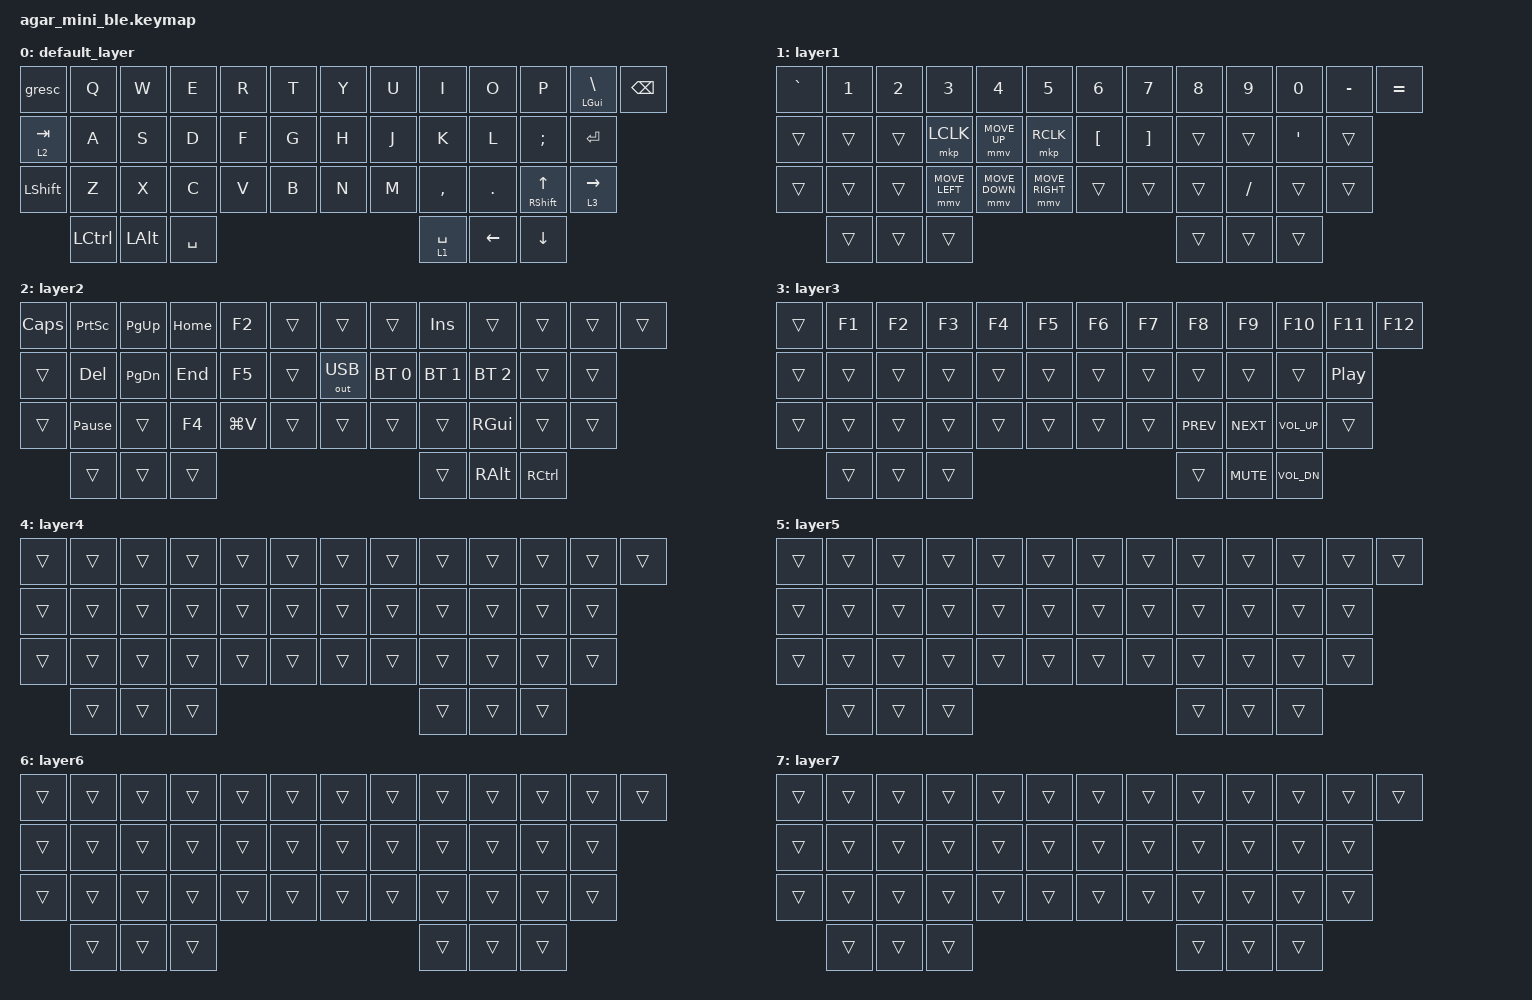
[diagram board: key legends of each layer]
/*
 * Copyright (c) 2021 The ZMK Contributors
 *
 * SPDX-License-Identifier: MIT
 */

#include "./boards/shields/klink_kbd/common.keymap"
#include <behaviors.dtsi>
#include <dt-bindings/zmk/keys.h>
#include <dt-bindings/zmk/pointing.h>
#include <dt-bindings/zmk/outputs.h>

/ {
    keymap {
        compatible = "zmk,keymap";

        default_layer {
            bindings = <
&gresc     &kp Q      &kp W     &kp E  &kp R        &kp T  &kp Y      &kp U  &kp I      &kp O           &kp P                &mt LGUI BACKSLASH  &kp BSPC
&lt 2 TAB  &kp A      &kp S     &kp D  &kp F        &kp G  &kp H      &kp J  &kp K      &kp L           &kp SEMI             &kp RET
&kp LSHFT  &kp Z      &kp X     &kp C  &kp V        &kp B  &kp N      &kp M  &kp COMMA  &kp DOT         &mt RSHIFT UP_ARROW  &lt 3 RIGHT_ARROW
           &kp LCTRL  &kp LALT         &kp SPACE         &lt 1 SPACE                    &kp LEFT_ARROW  &kp DOWN_ARROW
            >;
        };

        layer1 {
            bindings = <
&kp GRAVE  &kp N1  &kp N2  &kp N3          &kp N4          &kp N5           &kp N6            &kp N7             &kp N8  &kp N9     &kp N0            &kp MINUS  &kp EQUAL
&trans     &trans  &trans  &mkp LCLK       &mmv MOVE_UP    &mkp RCLK        &kp LEFT_BRACKET  &kp RIGHT_BRACKET  &trans  &trans     &kp SINGLE_QUOTE  &trans
&trans     &trans  &trans  &mmv MOVE_LEFT  &mmv MOVE_DOWN  &mmv MOVE_RIGHT  &trans            &trans             &trans  &kp SLASH  &trans            &trans
           &trans  &trans                  &trans                           &trans                                       &trans     &trans
            >;
        };

        layer2 {
            bindings = <
&kp CAPSLOCK  &kp PRINTSCREEN  &kp PAGE_UP     &kp HOME  &kp F2     &trans  &trans  &trans  &kp INSERT  &trans    &trans     &trans  &trans
&trans        &kp DELETE       &kp PAGE_DOWN   &kp END   &kp F5     &trans  &out OUT_USB  &bt BT_SEL 0  &bt BT_SEL 1      &bt BT_SEL 2    &trans     &trans
&trans        &kp PAUSE_BREAK  &trans          &kp F4    &kp LG(V)  &trans  &trans  &trans  &trans      &kp RGUI  &trans     &trans
              &trans           &trans                    &trans             &trans                      &kp RALT  &kp RCTRL
            >;
        };

        layer3 {
            bindings = <
&trans  &kp F1  &kp F2  &kp F3  &kp F4  &kp F5  &kp F6  &kp F7  &kp F8      &kp F9      &kp F10       &kp F11          &kp F12
&trans  &trans  &trans  &trans  &trans  &trans  &trans  &trans  &trans      &trans      &trans        &kp C_PLAY_PAUSE
&trans  &trans  &trans  &trans  &trans  &trans  &trans  &trans  &kp C_PREV  &kp C_NEXT  &kp C_VOL_UP  &trans
        &trans  &trans          &trans          &trans                      &kp C_MUTE  &kp C_VOL_DN
            >;
        };

        layer4 {
            bindings = <
&trans  &trans  &trans  &trans  &trans  &trans  &trans  &trans  &trans  &trans  &trans  &trans  &trans
&trans  &trans  &trans  &trans  &trans  &trans  &trans  &trans  &trans  &trans  &trans  &trans
&trans  &trans  &trans  &trans  &trans  &trans  &trans  &trans  &trans  &trans  &trans  &trans
        &trans  &trans          &trans          &trans                  &trans  &trans
            >;
        };

        layer5 {
            bindings = <
&trans  &trans  &trans  &trans  &trans  &trans  &trans  &trans  &trans  &trans  &trans  &trans  &trans
&trans  &trans  &trans  &trans  &trans  &trans  &trans  &trans  &trans  &trans  &trans  &trans
&trans  &trans  &trans  &trans  &trans  &trans  &trans  &trans  &trans  &trans  &trans  &trans
        &trans  &trans          &trans          &trans                  &trans  &trans
            >;
        };

        layer6 {
            bindings = <
&trans  &trans  &trans  &trans  &trans  &trans  &trans  &trans  &trans  &trans  &trans  &trans  &trans
&trans  &trans  &trans  &trans  &trans  &trans  &trans  &trans  &trans  &trans  &trans  &trans
&trans  &trans  &trans  &trans  &trans  &trans  &trans  &trans  &trans  &trans  &trans  &trans
        &trans  &trans          &trans          &trans                  &trans  &trans
            >;
        };

        layer7 {
            bindings = <
&trans  &trans  &trans  &trans  &trans  &trans  &trans  &trans  &trans  &trans  &trans  &trans  &trans
&trans  &trans  &trans  &trans  &trans  &trans  &trans  &trans  &trans  &trans  &trans  &trans
&trans  &trans  &trans  &trans  &trans  &trans  &trans  &trans  &trans  &trans  &trans  &trans
        &trans  &trans          &trans          &trans                  &trans  &trans
            >;
        };
    };
};
